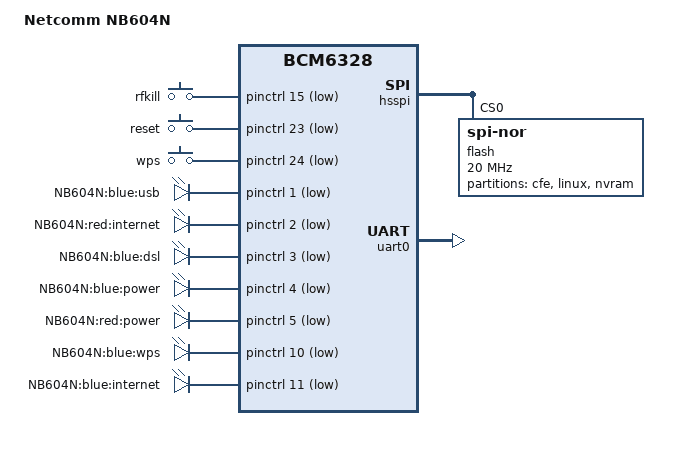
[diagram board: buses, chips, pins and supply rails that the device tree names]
/dts-v1/;

#include "bcm6328.dtsi"

#include <dt-bindings/input/input.h>

/ {
	model = "Netcomm NB604N";
	compatible = "brcm,nb604n", "brcm,bcm6328";

	chosen {
		bootargs = "rootfstype=squashfs,jffs2 noinitrd console=ttyS0,115200";
		stdout-path = "serial0:115200n8";
	};

	keys {
		compatible = "gpio-keys-polled";
		#address-cells = <1>;
		#size-cells = <0>;
		poll-interval = <20>;

		rfkill {
			label = "rfkill";
			gpios = <&pinctrl 15 1>;
			linux,code = <KEY_WLAN>;
			debounce-interval = <60>;
		};

		reset {
			label = "reset";
			gpios = <&pinctrl 23 1>;
			linux,code = <KEY_RESTART>;
			debounce-interval = <60>;
		};

		wps {
			label = "wps";
			gpios = <&pinctrl 24 1>;
			linux,code = <KEY_WPS_BUTTON>;
			debounce-interval = <60>;
		};
	};

	leds {
		compatible = "gpio-leds";

		usb {
			label = "NB604N:blue:usb";
			gpios = <&pinctrl 1 1>;
		};

		internet_red {
			label = "NB604N:red:internet";
			gpios = <&pinctrl 2 1>;
		};

		dsl {
			label = "NB604N:blue:dsl";
			gpios = <&pinctrl 3 1>;
		};

		power_blue {
			label = "NB604N:blue:power";
			gpios = <&pinctrl 4 1>;
			default-state = "on";
		};

		power_red {
			label = "NB604N:red:power";
			gpios = <&pinctrl 5 1>;
		};

		wps {
			label = "NB604N:blue:wps";
			gpios = <&pinctrl 10 1>;
		};

		internet_blue {
			label = "NB604N:blue:internet";
			gpios = <&pinctrl 11 1>;
		};
	};
};

&hsspi {
	status = "ok";

	flash@0 {
		compatible = "jedec,spi-nor";
		spi-max-frequency = <20000000>;
		spi-tx-bus-width = <2>;
		spi-rx-bus-width = <2>;
		reg = <0>;

		#address-cells = <1>;
		#size-cells = <1>;

		partitions {
			compatible = "fixed-partitions";
			#address-cells = <1>;
			#size-cells = <1>;

			cfe@0 {
				reg = <0x000000 0x010000>;
				label = "cfe";
				read-only;
			};

			linux@10000 {
				reg = <0x010000 0x7e0000>;
				label = "linux";
				compatible = "brcm,bcm963xx-imagetag";
			};

			nvram@7f0000 {
				reg = <0x7f0000 0x010000>;
				label = "nvram";
			};
		};
	};
};

&pinctrl {
	pinctrl-names = "default";
	pinctrl-0 = <&pinctrl_usb_port1_device>;
};

&uart0 {
	status = "ok";
};
